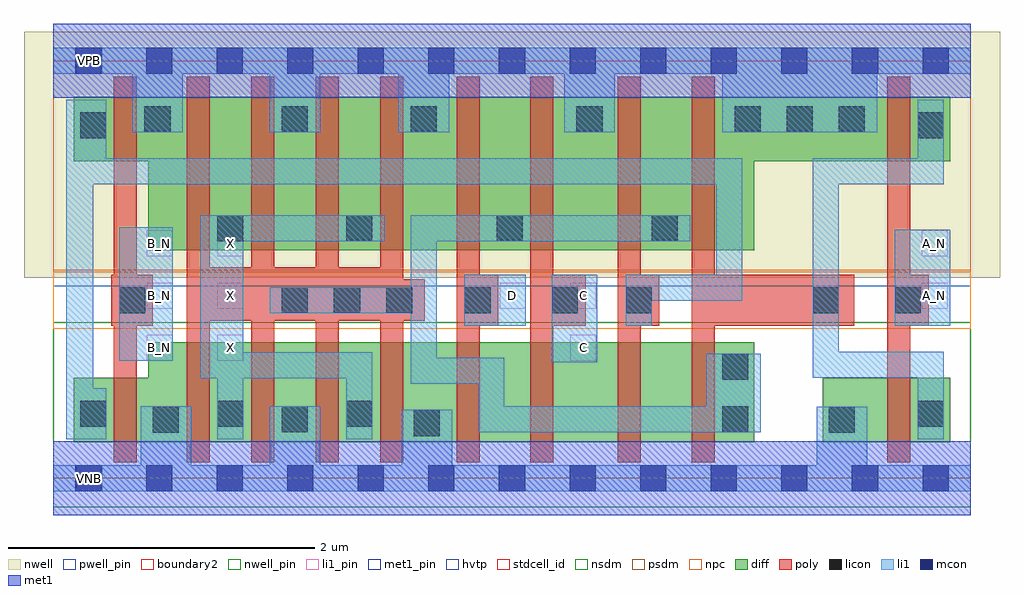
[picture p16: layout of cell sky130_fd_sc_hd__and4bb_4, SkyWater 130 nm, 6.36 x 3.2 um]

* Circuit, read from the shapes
.subckt sky130_fd_sc_hd__and4bb_4 A_N B_N C D VGND VNB VPB VPWR X
XM1 VGND B_N n1 VNB sky130_fd_pr__nfet_01v8 w=0.42 l=0.15
XM2 X n2 VGND VNB sky130_fd_pr__nfet_01v8 w=0.65 l=0.15 m=4
XM3 n3 D VGND VNB sky130_fd_pr__nfet_01v8 w=0.65 l=0.15
XM4 n4 C n3 VNB sky130_fd_pr__nfet_01v8 w=0.65 l=0.15
XM5 n5 n1 n4 VNB sky130_fd_pr__nfet_01v8 w=0.65 l=0.15
XM6 n2 n6 n5 VNB sky130_fd_pr__nfet_01v8 w=0.65 l=0.15
XM7 n6 A_N VGND VNB sky130_fd_pr__nfet_01v8 w=0.42 l=0.15
XM8 VPWR B_N n1 VPB sky130_fd_pr__pfet_01v8_hvt w=0.42 l=0.15
XM9 X n2 VPWR VPB sky130_fd_pr__pfet_01v8_hvt w=1 l=0.15 m=4
XM10 n2 D VPWR VPB sky130_fd_pr__pfet_01v8_hvt w=1 l=0.15
XM11 VPWR C n2 VPB sky130_fd_pr__pfet_01v8_hvt w=1 l=0.15
XM12 n2 n1 VPWR VPB sky130_fd_pr__pfet_01v8_hvt w=1 l=0.15
XM13 VPWR n6 n2 VPB sky130_fd_pr__pfet_01v8_hvt w=1 l=0.15
XM14 n6 A_N VPWR VPB sky130_fd_pr__pfet_01v8_hvt w=0.42 l=0.15
.ends

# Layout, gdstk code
import gdstk
lib = gdstk.Library(unit=1e-6, precision=1e-09)
def R(c, l, rs):  # rectangles x0, y0, x1, y1
    for r in rs: c.add(gdstk.rectangle(r[:2], r[2:], *l))
def A(c, l, x, y, w, h, nx, ny, dx, dy):  # array of equal rectangles
    R(c, l, [(x+i*dx, y+j*dy, x+i*dx+w, y+j*dy+h) for i in range(nx) for j in range(ny)])
def P(c, l, *ps):  # polygons
    for p in ps: c.add(gdstk.Polygon(p, *l))
nwell_pin = (64, 16)
nwell = (64, 20)
diff = (65, 20)
poly = (66, 20)
licon = (66, 44)
li1_pin = (67, 16)
li1 = (67, 20)
mcon = (67, 44)
met1_pin = (68, 16)
met1 = (68, 20)
hvtp = (78, 44)
stdcell_id = (81, 4)
nsdm = (93, 44)
psdm = (94, 20)
npc = (95, 20)
pwell_pin = (122, 16)
boundary2 = (236, 0)

sky130_fd_sc_hd__and4bb_ = lib.new_cell('sky130_fd_sc_hd__and4bb_4')
R(sky130_fd_sc_hd__and4bb_, nwell_pin, [(0.15,2.635,0.32,2.805)])
R(sky130_fd_sc_hd__and4bb_, nwell, [(-0.19,1.305,6.17,2.91)])
R(sky130_fd_sc_hd__and4bb_, diff, [(5.015,0.235,5.845,0.655)])
P(sky130_fd_sc_hd__and4bb_, diff, [(5.845,2.485),(0.135,2.485),(0.135,2.065),(0.62,2.065),(0.62,1.485),(4.57,1.485),(4.57,2.065),(5.845,2.065)],
  [(4.57,0.885),(0.62,0.885),(0.62,0.655),(0.135,0.655),(0.135,0.235),(4.57,0.235)])
P(sky130_fd_sc_hd__and4bb_, poly, [(5.705,1.325),(5.585,1.325),(5.585,2.615),(5.435,2.615),(5.435,0.105),(5.585,0.105),(5.585,0.995),(5.705,0.995)],
  [(5.22,1.325),(4.31,1.325),(4.31,2.615),(4.16,2.615),(4.16,0.105),(4.31,0.105),(4.31,0.995),(5.22,0.995)],
  [(3.95,1.325),(3.83,1.325),(3.83,2.615),(3.68,2.615),(3.68,0.105),(3.83,0.105),(3.83,0.995),(3.95,0.995)],
  [(3.47,1.325),(3.26,1.325),(3.26,2.615),(3.11,2.615),(3.11,0.105),(3.26,0.105),(3.26,0.995),(3.47,0.995)],
  [(2.9,1.325),(2.78,1.325),(2.78,2.615),(2.63,2.615),(2.63,0.105),(2.78,0.105),(2.78,0.995),(2.9,0.995)],
  [(2.42,1.295),(2.28,1.295),(2.28,2.615),(2.13,2.615),(2.13,1.375),(1.86,1.375),(1.86,2.615),(1.71,2.615),(1.71,1.375),(1.44,1.375),(1.44,2.615),(1.29,2.615),(1.29,1.375),(1.02,1.375),(1.02,2.615),(0.87,2.615),(0.87,0.105),(1.02,0.105),(1.02,1.025),(1.29,1.025),(1.29,0.105),(1.44,0.105),(1.44,1.025),(1.71,1.025),(1.71,0.105),(1.86,0.105),(1.86,1.025),(2.13,1.025),(2.13,0.105),(2.28,0.105),(2.28,1.025),(2.42,1.025)],
  [(0.65,1.325),(0.545,1.325),(0.545,2.615),(0.395,2.615),(0.395,1.325),(0.38,1.325),(0.38,0.995),(0.395,0.995),(0.395,0.105),(0.545,0.105),(0.545,0.995),(0.65,0.995)])
A(sky130_fd_sc_hd__and4bb_, licon, 1.49, 1.075, 0.17, 0.17, 3, 1, 0.34, 0)
A(sky130_fd_sc_hd__and4bb_, licon, 4.44, 2.255, 0.17, 0.17, 3, 1, 0.34, 0)
R(sky130_fd_sc_hd__and4bb_, licon, [(2.35,0.275,2.52,0.445), (0.65,0.295,0.82,0.465), (5.055,0.295,5.225,0.465), (1.49,0.3,1.66,0.47), (4.36,0.3,4.53,0.47), (0.175,0.335,0.345,0.505), (1.07,0.335,1.24,0.505), (1.91,0.335,2.08,0.505), (5.635,0.335,5.805,0.505), (4.36,0.64,4.53,0.81), (0.43,1.075,0.6,1.245), (2.68,1.075,2.85,1.245), (3.25,1.075,3.42,1.245), (3.73,1.075,3.9,1.245), (4.95,1.075,5.12,1.245), (5.485,1.075,5.655,1.245), (1.07,1.545,1.24,1.715), (1.91,1.545,2.08,1.715), (2.89,1.545,3.06,1.715), (3.9,1.545,4.07,1.715), (0.175,2.215,0.345,2.385), (5.635,2.215,5.805,2.385), (0.595,2.255,0.765,2.425), (1.49,2.255,1.66,2.425), (2.33,2.255,2.5,2.425), (3.41,2.255,3.58,2.425)])
A(sky130_fd_sc_hd__and4bb_, li1_pin, 0.61, 0.765, 0.17, 0.17, 1, 3, 0, 0.34)
A(sky130_fd_sc_hd__and4bb_, li1_pin, 1.07, 0.765, 0.17, 0.17, 1, 3, 0, 0.34)
R(sky130_fd_sc_hd__and4bb_, li1_pin, [(3.37,0.765,3.54,0.935), (2.91,1.105,3.08,1.275), (3.37,1.105,3.54,1.275), (5.66,1.105,5.83,1.275), (5.66,1.445,5.83,1.615)])
R(sky130_fd_sc_hd__and4bb_, li1, [(3.25,0.755,3.545,1.325), (0.43,0.765,0.78,1.635), (2.68,0.995,3.08,1.325), (5.485,0.995,5.845,1.62)])
P(sky130_fd_sc_hd__and4bb_, li1, [(5.98,0.085),(5.305,0.085),(5.305,0.465),(4.975,0.465),(4.975,0.085),(2.6,0.085),(2.6,0.445),(2.27,0.445),(2.27,0.085),(1.74,0.085),(1.74,0.47),(1.41,0.47),(1.41,0.085),(0.9,0.085),(0.9,0.47),(0.57,0.47),(0.57,0.085),(0,0.085),(0,-0.085),(5.98,-0.085)],
  [(5.98,2.805),(0,2.805),(0,2.635),(0.515,2.635),(0.515,2.255),(0.845,2.255),(0.845,2.635),(1.41,2.635),(1.41,2.255),(1.74,2.255),(1.74,2.635),(2.25,2.635),(2.25,2.255),(2.58,2.255),(2.58,2.635),(3.33,2.635),(3.33,2.255),(3.66,2.255),(3.66,2.635),(4.36,2.635),(4.36,2.255),(5.37,2.255),(5.37,2.635),(5.98,2.635)],
  [(2.16,1.715),(0.96,1.715),(0.96,0.65),(1.07,0.65),(1.07,0.255),(1.24,0.255),(1.24,0.65),(1.91,0.65),(1.91,0.255),(2.08,0.255),(2.08,0.82),(1.24,0.82),(1.24,1.545),(2.16,1.545)],
  [(5.805,0.825),(5.12,0.825),(5.12,1.915),(5.805,1.915),(5.805,2.465),(5.635,2.465),(5.635,2.085),(4.95,2.085),(4.95,0.655),(5.635,0.655),(5.635,0.255),(5.805,0.255)],
  [(4.61,0.81),(4.255,0.81),(4.255,0.47),(2.94,0.47),(2.94,0.785),(2.5,0.785),(2.5,1.545),(4.15,1.545),(4.15,1.715),(2.33,1.715),(2.33,1.245),(1.41,1.245),(1.41,1.075),(2.33,1.075),(2.33,0.615),(2.77,0.615),(2.77,0.3),(4.61,0.3)],
  [(4.49,2.085),(0.345,2.085),(0.345,2.465),(0.085,2.465),(0.085,0.255),(0.345,0.255),(0.345,0.585),(0.26,0.585),(0.26,1.915),(4.32,1.915),(4.32,1.325),(3.73,1.325),(3.73,0.995),(3.9,0.995),(3.9,1.155),(4.49,1.155)])
A(sky130_fd_sc_hd__and4bb_, mcon, 0.145, -0.085, 0.17, 0.17, 13, 2, 0.46, 2.72)
R(sky130_fd_sc_hd__and4bb_, met1_pin, [(0.15,-0.085,0.32,0.085), (0.15,2.635,0.32,2.805)])
R(sky130_fd_sc_hd__and4bb_, hvtp, [(0,1.25,5.98,2.72)])
R(sky130_fd_sc_hd__and4bb_, stdcell_id, [(0,0,5.98,2.72)])
R(sky130_fd_sc_hd__and4bb_, nsdm, [(0,-0.19,5.98,1.015)])
R(sky130_fd_sc_hd__and4bb_, psdm, [(0,1.355,5.98,2.91)])
R(sky130_fd_sc_hd__and4bb_, npc, [(0,0.975,5.98,1.345)])
R(sky130_fd_sc_hd__and4bb_, pwell_pin, [(0.15,-0.085,0.32,0.085)])
R(sky130_fd_sc_hd__and4bb_, boundary2, [(0,0,5.98,2.72)])
sky130_fd_sc_hd__and4bb_.add(gdstk.FlexPath([(0,2.72),(5.98,2.72)], 0.48, ends="flush", simple_path=True, layer=68, datatype=20))  # met1
sky130_fd_sc_hd__and4bb_.add(gdstk.FlexPath([(0,0),(5.98,0)], 0.48, ends="flush", simple_path=True, layer=68, datatype=20))  # met1
sky130_fd_sc_hd__and4bb_.add(gdstk.Label('C', (3.455,1.19), layer=67, texttype=5))
sky130_fd_sc_hd__and4bb_.add(gdstk.Label('C', (3.455,0.85), layer=67, texttype=5))
sky130_fd_sc_hd__and4bb_.add(gdstk.Label('A_N', (5.745,1.53), layer=67, texttype=5))
sky130_fd_sc_hd__and4bb_.add(gdstk.Label('A_N', (5.745,1.19), layer=67, texttype=5))
sky130_fd_sc_hd__and4bb_.add(gdstk.Label('D', (2.995,1.19), layer=67, texttype=5))
sky130_fd_sc_hd__and4bb_.add(gdstk.Label('X', (1.155,1.19), layer=67, texttype=5))
sky130_fd_sc_hd__and4bb_.add(gdstk.Label('X', (1.155,1.53), layer=67, texttype=5))
sky130_fd_sc_hd__and4bb_.add(gdstk.Label('B_N', (0.695,0.85), layer=67, texttype=5))
sky130_fd_sc_hd__and4bb_.add(gdstk.Label('B_N', (0.695,1.53), layer=67, texttype=5))
sky130_fd_sc_hd__and4bb_.add(gdstk.Label('X', (1.155,0.85), layer=67, texttype=5))
sky130_fd_sc_hd__and4bb_.add(gdstk.Label('B_N', (0.695,1.19), layer=67, texttype=5))
sky130_fd_sc_hd__and4bb_.add(gdstk.Label('VNB', (0.235,0), layer=64, texttype=59))
sky130_fd_sc_hd__and4bb_.add(gdstk.Label('VPB', (0.235,2.72), layer=64, texttype=5))
sky130_fd_sc_hd__and4bb_.add(gdstk.Label('VGND', (0.23,0), layer=68, texttype=5))
sky130_fd_sc_hd__and4bb_.add(gdstk.Label('VPWR', (0.23,2.72), layer=68, texttype=5))
sky130_fd_sc_hd__and4bb_.add(gdstk.Label('and4bb_4', (0,0), layer=83, texttype=44))

lib.write_gds('sky130_fd_sc_hd__and4bb_4.gds')
